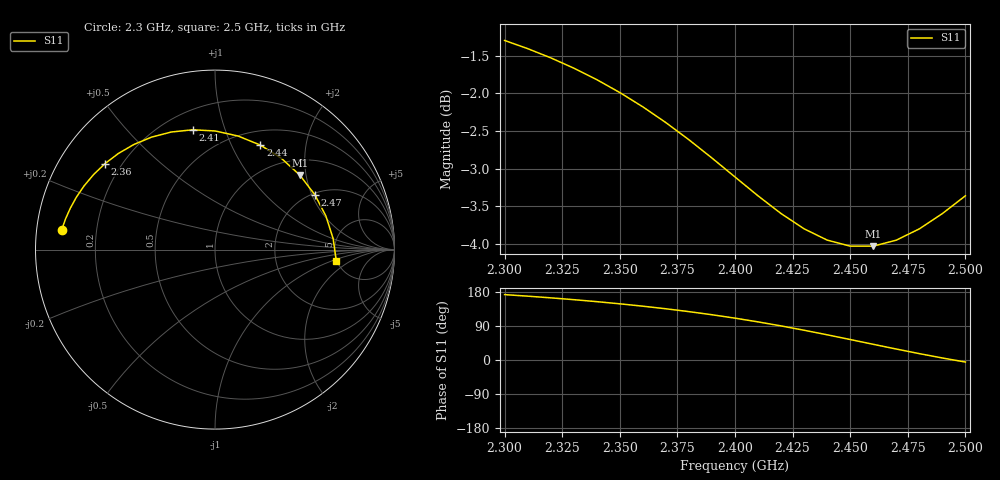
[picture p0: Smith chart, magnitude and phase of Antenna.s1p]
! AWR Design Environment (12506) Thu Nov 23 11:39:37 2023
! Document = 'Antenna'
! nPorts: 1, nXvals: 21
# MHz S DB R 50
!Freq DBS11 AngS11
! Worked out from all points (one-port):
!   21 points, 2.3 GHz to 2.5 GHz, reference 50 ohm
!   lowest |S11| = -4.0 dB at 2.46 GHz (marker M1), VSWR 4.39, Z = 66.8 + j92 ohm
!   |S11| at or under -10 dB: nowhere
!   S11 on the Smith chart (normalised r, x): 2.3 GHz: 0.08, +0.06; 2.36 GHz: 0.14, +0.34; 2.41 GHz: 0.32, +0.78; 2.44 GHz: 0.67, +1.30; 2.47 GHz: 2.05, +2.10; 2.5 GHz: 4.94, -1.17
2300  -1.30 172.6
2310  -1.41 168.5
2320  -1.53 164.0
2330  -1.67 159.2
2340  -1.82 154.0
2350  -1.99 148.3
2360  -2.18 142.0
2370  -2.39 135.2
2380  -2.62 127.7
2390  -2.86 119.4
2400  -3.11 110.4
2410  -3.36 100.6
2420  -3.60 89.9
2430  -3.80 78.5
2440  -3.95 66.5
2450  -4.03 54.0
2460  -4.03 41.4
2470  -3.95 28.9
2480  -3.80 16.8
2490  -3.60 5.3
2500  -3.36 -5.4
